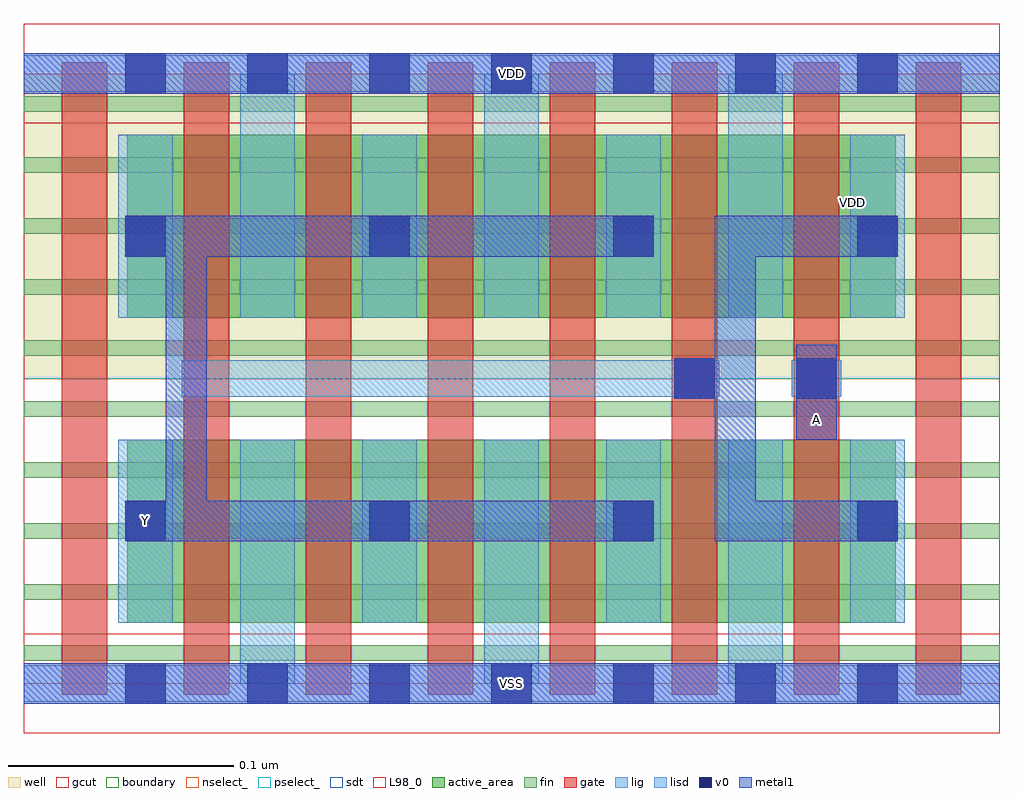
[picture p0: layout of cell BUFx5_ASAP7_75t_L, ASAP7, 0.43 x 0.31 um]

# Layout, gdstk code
import gdstk
lib = gdstk.Library(unit=1e-6, precision=2.5e-10)
def R(c, l, rs):  # rectangles x0, y0, x1, y1
    for r in rs: c.add(gdstk.rectangle(r[:2], r[2:], *l))
def A(c, l, x, y, w, h, nx, ny, dx, dy):  # array of equal rectangles
    R(c, l, [(x+i*dx, y+j*dy, x+i*dx+w, y+j*dy+h) for i in range(nx) for j in range(ny)])
def P(c, l, *ps):  # polygons
    for p in ps: c.add(gdstk.Polygon(p, *l))
well = (1, 0)
fin = (2, 0)
gate = (7, 0)
gcut = (10, 0)
active_area = (11, 0)
nselect_ = (12, 0)
pselect_ = (13, 0)
lig = (16, 0)
lisd = (17, 0)
v0 = (18, 0)
metal1 = (19, 0)
sdt = (88, 0)
L98_0 = (98, 0)
boundary = (100, 0)

bufx5_asap7_75t_l = lib.new_cell('BUFx5_ASAP7_75t_L')
R(bufx5_asap7_75t_l, well, [(0,0.135,0.432,0.27)])
A(bufx5_asap7_75t_l, fin, 0, 0.01, 0.432, 0.007, 1, 10, 0, 0.027)
A(bufx5_asap7_75t_l, gate, 0.017, -0.005, 0.02, 0.28, 8, 1, 0.054, 0)
R(bufx5_asap7_75t_l, gcut, [(0,-0.022,0.432,0.022), (0,0.248,0.432,0.292)])
R(bufx5_asap7_75t_l, active_area, [(0.046,0.027,0.386,0.108), (0.046,0.162,0.386,0.243)])
R(bufx5_asap7_75t_l, nselect_, [(0,0,0.432,0.135)])
R(bufx5_asap7_75t_l, pselect_, [(0,0.135,0.432,0.27)])
R(bufx5_asap7_75t_l, lig, [(0,-0.008,0.432,0.008), (0.07,0.127,0.308,0.143), (0.34,0.127,0.362,0.143), (0,0.262,0.432,0.278)])
A(bufx5_asap7_75t_l, lisd, 0.096, 0, 0.024, 0.108, 3, 2, 0.108, 0.162)
A(bufx5_asap7_75t_l, lisd, 0.042, 0.027, 0.024, 0.081, 4, 2, 0.108, 0.135)
A(bufx5_asap7_75t_l, v0, 0.045, -0.009, 0.018, 0.018, 7, 2, 0.054, 0.27)
A(bufx5_asap7_75t_l, v0, 0.045, 0.063, 0.018, 0.018, 4, 2, 0.108, 0.126)
R(bufx5_asap7_75t_l, v0, [(0.288,0.126,0.306,0.144), (0.342,0.126,0.36,0.144)])
R(bufx5_asap7_75t_l, metal1, [(0,-0.009,0.432,0.009), (0.342,0.108,0.36,0.15), (0,0.261,0.432,0.279)])
P(bufx5_asap7_75t_l, metal1, [(0.306,0.063),(0.306,0.126),(0.288,0.126),(0.288,0.144),(0.306,0.144),(0.306,0.207),(0.387,0.207),(0.387,0.189),(0.324,0.189),(0.324,0.081),(0.387,0.081),(0.387,0.063)],
  [(0.045,0.063),(0.045,0.081),(0.063,0.081),(0.063,0.189),(0.045,0.189),(0.045,0.207),(0.279,0.207),(0.279,0.189),(0.081,0.189),(0.081,0.081),(0.279,0.081),(0.279,0.063)])
A(bufx5_asap7_75t_l, sdt, 0.042, 0.027, 0.024, 0.081, 7, 2, 0.054, 0.135)
R(bufx5_asap7_75t_l, L98_0, [(0,0,0.432,0.27)])
R(bufx5_asap7_75t_l, boundary, [(0,0,0.432,0.27)])
bufx5_asap7_75t_l.add(gdstk.Label('A', (0.351,0.117), layer=19, texttype=251))
bufx5_asap7_75t_l.add(gdstk.Label('Y', (0.054,0.072), layer=19, texttype=251))
bufx5_asap7_75t_l.add(gdstk.Label('VSS', (0.216,0), layer=19, texttype=251))
bufx5_asap7_75t_l.add(gdstk.Label('VDD', (0.216,0.27), layer=19, texttype=251))
bufx5_asap7_75t_l.add(gdstk.Label('VDD', (0.367,0.213), layer=1, texttype=251))
bufx5_asap7_75t_l.add(gdstk.Label('VSS', (0.497,0.213), layer=3, texttype=251))

lib.write_gds('BUFx5_ASAP7_75t_L.gds')
